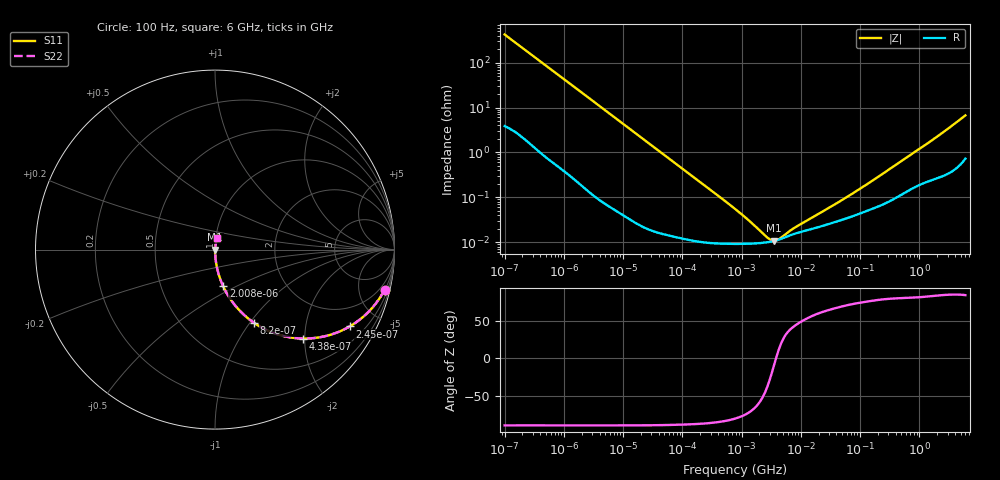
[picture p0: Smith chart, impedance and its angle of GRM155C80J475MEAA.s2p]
!Murata Part Number: GRM155C80J475MEAA
!These Parameters are Measured in Series Mode Connection
!Data Generated on Mar 30, 2021
!  o--ll--o
!Port1  Port2
!  o------o
!Operation Temp=25[degC], DC Bias Voltage=0[V]
!Freq. Start=100[Hz] Stop=6[GHz] 401[Steps]
# Hz S RI R 50
!Freq.(Hz) S11(Real) S11(Imag) S21(Real) S21(Imag) S12(Real) S12(Imag) S22(Real) S22(Imag)
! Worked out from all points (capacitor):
!   401 points, 100 Hz to 6 GHz, reference 50 ohm
!   read as one part in series: C = 3.75 uF near 109 Hz
!   lowest |Z| = 10.8 mohm at 3.55 MHz (marker M1)
!   series resonance near 3.822 MHz, so ESL is about 460 pH
!   S11 on the Smith chart (normalised r, x): 100 Hz: 1.08, -8.46; 245 Hz: 1.03, -3.48; 438 Hz: 1.02, -1.95; 820 Hz: 1.01, -1.05; 2.008 kHz: 1.00, -0.43; 6 GHz: 1.01, +0.13
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100  0.9453 -0.2229  0.0547 0.2229  0.0547 0.2229  0.9453 -0.2229
164  0.8684 -0.333  0.1316 0.333  0.1316 0.333  0.8684 -0.333
245  0.7499 -0.4281  0.2501 0.4281  0.2501 0.4281  0.7499 -0.4281
335  0.6183 -0.4811  0.3817 0.4811  0.3817 0.4811  0.6183 -0.4811
438  0.4882 -0.4953  0.5118 0.4953  0.5118 0.4953  0.4882 -0.4953
600  0.3396 -0.4691  0.6604 0.4691  0.6604 0.4691  0.3396 -0.4691
820  0.2172 -0.4079  0.7828 0.4079  0.7828 0.4079  0.2172 -0.4079
1227  0.1117 -0.3106  0.8883 0.3106  0.8883 0.3106  0.1117 -0.3106
2008  0.0457 -0.2047  0.9543 0.2047  0.9543 0.2047  0.0457 -0.2047
3437  0.0166 -0.1237  0.9834 0.1237  0.9834 0.1237  0.0166 -0.1237
6433  0.00509 -0.067  0.9949 0.067  0.9949 0.067  0.00509 -0.067
40335  0.000278 -0.0108  0.9997 0.0108  0.9997 0.0108  0.000278 -0.0108
774597  9.2e-05 -0.000546  0.9999 0.000546  0.9999 0.000546  9.2e-05 -0.000546
2713602  9.99e-05 -7.89e-05  0.9999 7.89e-05  0.9999 7.89e-05  9.99e-05 -7.89e-05
3549919  0.000107 -1.63e-05  0.9999 1.63e-05  0.9999 1.63e-05  0.000107 -1.63e-05
4246196  0.000114 2.3e-05  0.9999 -2.3e-05  0.9999 -2.3e-05  0.000114 2.3e-05
7599586  0.000152 0.000137  0.9998 -0.000137  0.9998 -0.000137  0.000152 0.000137
1.555665e7  0.000198 0.000294  0.9998 -0.000294  0.9998 -0.000294  0.000198 0.000294
6.518806e7  0.000356 0.00103  0.9996 -0.00103  0.9996 -0.00103  0.000356 0.00103
3.124326e8  0.000827 0.00414  0.9992 -0.00414  0.9992 -0.00414  0.000827 0.00414
1.637704e9  0.00275 0.0184  0.9972 -0.0184  0.9972 -0.0184  0.00275 0.0184
6e9  0.0115 0.0652  0.9885 -0.0652  0.9885 -0.0652  0.0115 0.0652
